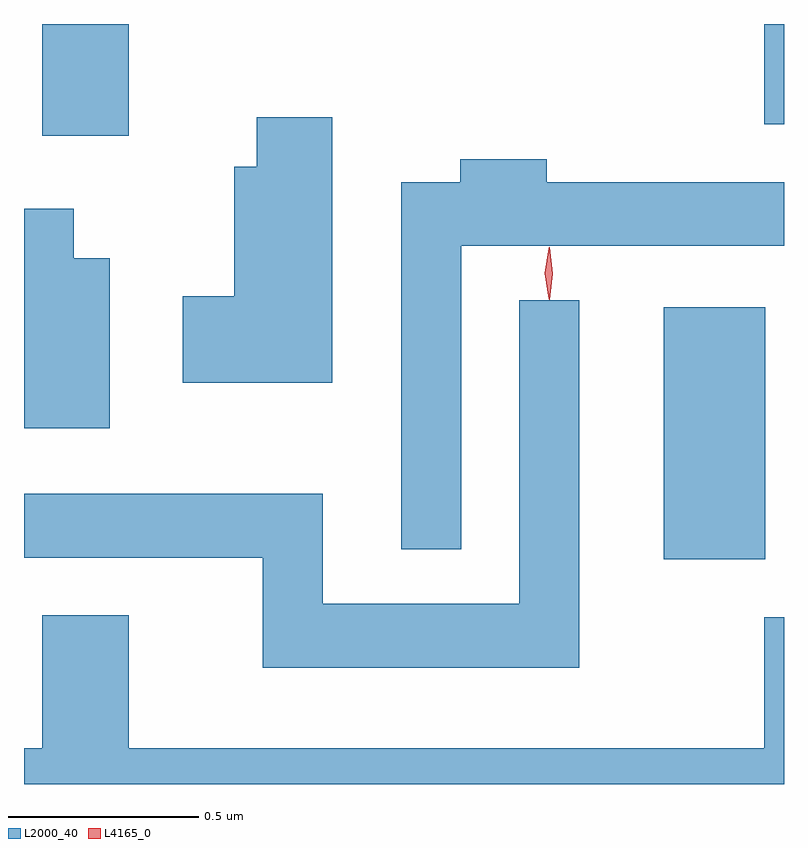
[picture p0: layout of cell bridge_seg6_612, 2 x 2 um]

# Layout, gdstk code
import gdstk
lib = gdstk.Library(unit=1e-6, precision=1e-09)
def R(c, l, rs):  # rectangles x0, y0, x1, y1
    for r in rs: c.add(gdstk.rectangle(r[:2], r[2:], *l))
def P(c, l, *ps):  # polygons
    for p in ps: c.add(gdstk.Polygon(p, *l))
L2000_40 = (2000, 40)
L4165_0 = (4165, 0)

bridge_seg6_612 = lib.new_cell('bridge_seg6_612')
R(bridge_seg6_612, L2000_40, [(409.506,1608.521,409.774,1609.184), (407.871,1609.636,408.099,1609.93), (409.771,1609.666,409.823,1609.93)])
P(bridge_seg6_612, L2000_40, [(408.634,1609.684),(408.436,1609.684),(408.436,1609.554),(408.376,1609.554),(408.376,1609.214),(408.241,1609.214),(408.241,1608.986),(408.634,1608.986)],
  [(408.974,1609.346),(409.823,1609.346),(409.823,1609.514),(409.199,1609.514),(409.199,1609.574),(408.971,1609.574),(408.971,1609.514),(408.816,1609.514),(408.816,1608.548),(408.974,1608.548)],
  [(408.049,1609.314),(407.954,1609.314),(407.954,1609.444),(407.823,1609.444),(407.823,1608.866),(408.049,1608.866)],
  [(409.284,1609.203),(409.126,1609.203),(409.126,1608.404),(408.609,1608.404),(408.609,1608.694),(407.823,1608.694),(407.823,1608.526),(408.451,1608.526),(408.451,1608.236),(409.284,1608.236)],
  [(409.823,1608.369),(409.771,1608.369),(409.771,1608.024),(408.099,1608.024),(408.099,1608.374),(407.871,1608.374),(407.871,1608.024),(407.823,1608.024),(407.823,1607.93),(409.823,1607.93)])
P(bridge_seg6_612, L4165_0, [(409.205,1609.204),(409.205,1609.204),(409.195,1609.273),(409.205,1609.343),(409.205,1609.343),(409.206,1609.343),(409.215,1609.273),(409.206,1609.204)],
  [(409.204,1609.207),(409.204,1609.207),(409.194,1609.274),(409.204,1609.34),(409.204,1609.341),(409.204,1609.34),(409.214,1609.274),(409.204,1609.207)])

lib.write_gds('bridge_seg6_612.gds')
